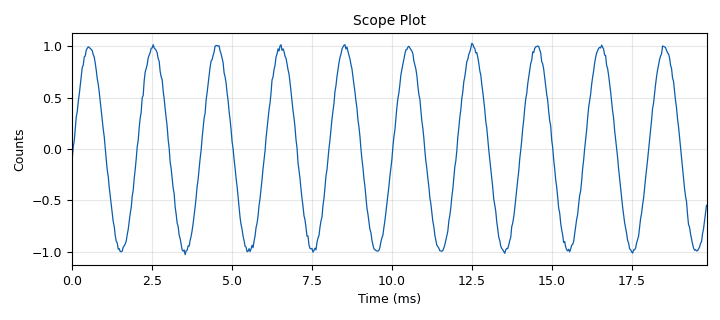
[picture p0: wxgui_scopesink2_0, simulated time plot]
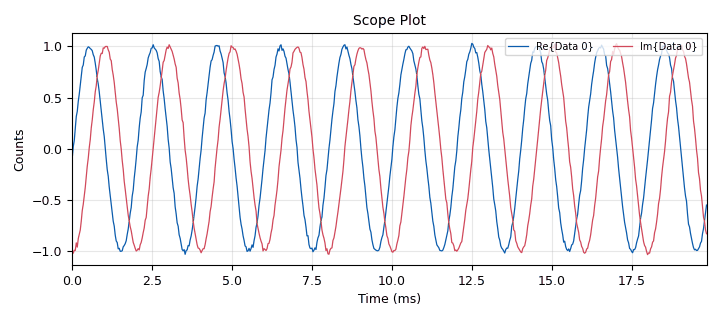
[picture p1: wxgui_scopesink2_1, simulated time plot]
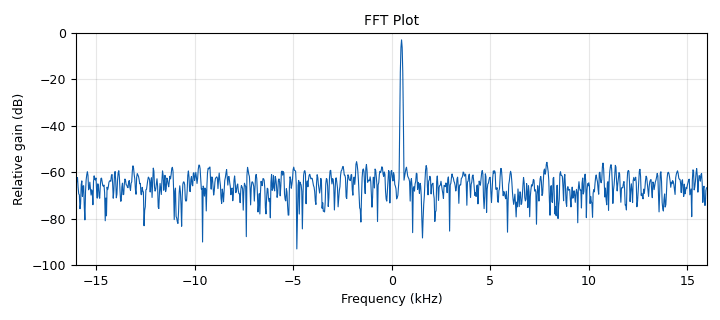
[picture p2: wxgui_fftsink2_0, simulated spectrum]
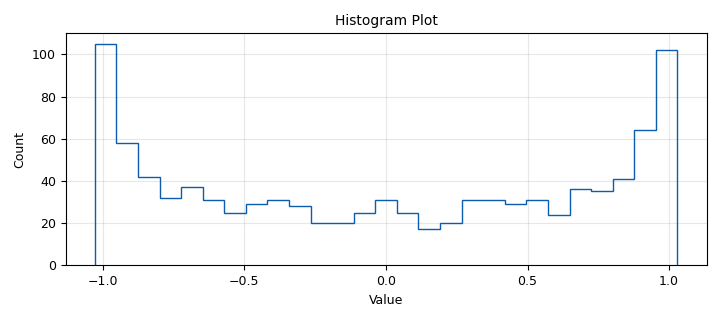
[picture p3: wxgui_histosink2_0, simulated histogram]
<?xml version='1.0' encoding='utf-8'?>
<flow_graph>
<block>
<key>options</key>
<param><key>id</key><value>top_block</value></param>
<param><key>generate_options</key><value>wx_gui</value></param>
<param><key>category</key><value>Custom</value></param>
</block>
<block>
<key>variable</key>
<param><key>id</key><value>samp_rate</value></param>
<param><key>value</key><value>32000</value></param>
</block>
<block>
<key>variable</key>
<param><key>id</key><value>sampling_in</value></param>
<param><key>value</key><value>44000</value></param>
</block>
<block>
<key>wxgui_scopesink2</key>
<param><key>id</key><value>wxgui_scopesink2_0</value></param>
<param><key>type</key><value>float</value></param>
<param><key>title</key><value>Scope Plot</value></param>
<param><key>samp_rate</key><value>samp_rate</value></param>
<param><key>v_scale</key><value>0</value></param>
<param><key>v_offset</key><value>0</value></param>
<param><key>t_scale</key><value>0</value></param>
<param><key>ac_couple</key><value>False</value></param>
<param><key>xy_mode</key><value>False</value></param>
<param><key>num_inputs</key><value>1</value></param>
<param><key>notebook</key><value>noteboo, 1</value></param>
<param><key>trig_mode</key><value>wxgui.TRIG_MODE_AUTO</value></param>
<param><key>y_axis_label</key><value>Counts</value></param>
</block>
<block>
<key>wxgui_scopesink2</key>
<param><key>id</key><value>wxgui_scopesink2_1</value></param>
<param><key>type</key><value>complex</value></param>
<param><key>title</key><value>Scope Plot</value></param>
<param><key>samp_rate</key><value>samp_rate</value></param>
<param><key>v_scale</key><value>0</value></param>
<param><key>v_offset</key><value>0</value></param>
<param><key>t_scale</key><value>0</value></param>
<param><key>ac_couple</key><value>True</value></param>
<param><key>xy_mode</key><value>False</value></param>
<param><key>num_inputs</key><value>1</value></param>
<param><key>notebook</key><value>noteboo, 0</value></param>
<param><key>trig_mode</key><value>wxgui.TRIG_MODE_AUTO</value></param>
<param><key>y_axis_label</key><value>Counts</value></param>
</block>
<block>
<key>channels_channel_model</key>
<param><key>id</key><value>Gaussian_Channel</value></param>
<param><key>noise_voltage</key><value>0.02</value></param>
<param><key>freq_offset</key><value>0.0</value></param>
<param><key>epsilon</key><value>0.5</value></param>
<param><key>taps</key><value>1</value></param>
<param><key>seed</key><value>0</value></param>
</block>
<block>
<key>blocks_throttle</key>
<param><key>id</key><value>blocks_throttle_0</value></param>
<param><key>type</key><value>complex</value></param>
<param><key>samples_per_second</key><value>samp_rate</value></param>
</block>
<block>
<key>wxgui_fftsink2</key>
<param><key>id</key><value>wxgui_fftsink2_0</value></param>
<param><key>type</key><value>complex</value></param>
<param><key>title</key><value>FFT Plot</value></param>
<param><key>samp_rate</key><value>samp_rate</value></param>
<param><key>baseband_freq</key><value>0</value></param>
<param><key>y_per_div</key><value>10</value></param>
<param><key>y_divs</key><value>10</value></param>
<param><key>ref_level</key><value>0</value></param>
<param><key>ref_scale</key><value>2.0</value></param>
<param><key>fft_size</key><value>1024</value></param>
<param><key>fft_rate</key><value>15</value></param>
<param><key>peak_hold</key><value>False</value></param>
<param><key>average</key><value>False</value></param>
<param><key>avg_alpha</key><value>0</value></param>
<param><key>win</key><value>None</value></param>
<param><key>notebook</key><value>noteboo, 2</value></param>
<param><key>freqvar</key><value>None</value></param>
</block>
<block>
<key>blocks_complex_to_float</key>
<param><key>id</key><value>blocks_complex_to_float_0</value></param>
</block>
<block>
<key>wxgui_histosink2</key>
<param><key>id</key><value>wxgui_histosink2_0</value></param>
<param><key>title</key><value>Histogram Plot</value></param>
<param><key>num_bins</key><value>27</value></param>
<param><key>frame_size</key><value>1000</value></param>
<param><key>notebook</key><value>noteboo, 3</value></param>
</block>
<block>
<key>notebook</key>
<param><key>id</key><value>noteboo</value></param>
<param><key>style</key><value>wx.NB_TOP</value></param>
<param><key>labels</key><value>['scope_complex', 'scope', 'fft', 'histo']</value></param>
</block>
<block>
<key>analog_sig_source_x</key>
<param><key>id</key><value>analog_sig_source_x_0</value></param>
<param><key>type</key><value>complex</value></param>
<param><key>samp_rate</key><value>samp_rate</value></param>
<param><key>waveform</key><value>analog.GR_SIN_WAVE</value></param>
<param><key>freq</key><value>1000</value></param>
<param><key>amp</key><value>1</value></param>
<param><key>offset</key><value>0</value></param>
</block>
<connection><source_block_id>analog_sig_source_x_0</source_block_id><sink_block_id>blocks_throttle_0</sink_block_id><source_key>0</source_key><sink_key>0</sink_key></connection>
<connection><source_block_id>blocks_throttle_0</source_block_id><sink_block_id>Gaussian_Channel</sink_block_id><source_key>0</source_key><sink_key>0</sink_key></connection>
<connection><source_block_id>Gaussian_Channel</source_block_id><sink_block_id>blocks_complex_to_float_0</sink_block_id><source_key>0</source_key><sink_key>0</sink_key></connection>
<connection><source_block_id>blocks_complex_to_float_0</source_block_id><sink_block_id>wxgui_scopesink2_0</sink_block_id><source_key>0</source_key><sink_key>0</sink_key></connection>
<connection><source_block_id>Gaussian_Channel</source_block_id><sink_block_id>wxgui_scopesink2_1</sink_block_id><source_key>0</source_key><sink_key>0</sink_key></connection>
<connection><source_block_id>Gaussian_Channel</source_block_id><sink_block_id>wxgui_fftsink2_0</sink_block_id><source_key>0</source_key><sink_key>0</sink_key></connection>
<connection><source_block_id>blocks_complex_to_float_0</source_block_id><sink_block_id>wxgui_histosink2_0</sink_block_id><source_key>0</source_key><sink_key>0</sink_key></connection>
</flow_graph>
